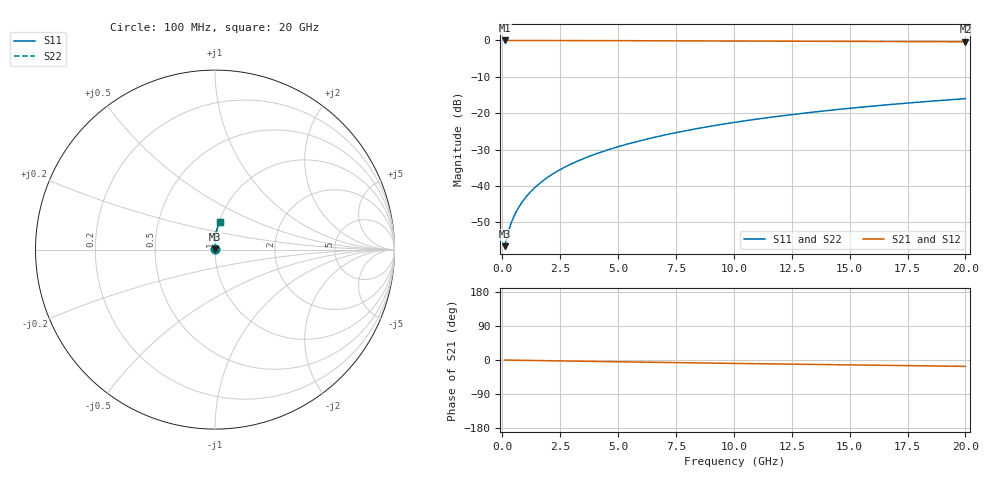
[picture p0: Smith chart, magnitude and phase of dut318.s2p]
! Touchstone file exported from HFSS 2024.1.0
!  File:  C:/UserFiles/LocalFiles/RDL_TSV_Batchsim/temp_RDL_top_318_1779606856.aedt
!  Generated:  03:16:22 PM May 24, 2026
!  Design:  RDL_top
!  Project:  temp_RDL_top_318_1779606856
!  Setup:  Setup1
!  Solution:  Sweep
! Variables:
!  dtsv = 10.80580581um
!  hbump = 3um
!  htsv = 91.66um
!  ldown = 100um
!  lrdl = 235.75um
!  p = 40
!  p1 = 41.72um
!  rhole = 1um
!  t = 450um
!  tdown = 3.915915916um
!  trdl = 3.5um
!  wdown = 15.38538539um
!  wrdl = 22.75um
# GHz S MA R 50.000000
! Terminal data exported
! Port[1] = Box2_T1
! Port[2] = Box2_T2
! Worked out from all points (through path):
!   200 points, 100 MHz to 20 GHz, reference 50 ohm
!   highest |S21| = -0.01 dB at 100 MHz (marker M1); lowest = -0.4 dB at 20 GHz (marker M2)
!   group delay of S21, straight-line fit = 2.31 ps
!   lowest |S11| = -56.6 dB at 100 MHz (marker M3), VSWR 1.00, Z = 50.1 + j0.0765 ohm
!   |S11| at or under -10 dB: start of sweep to end of sweep
!   |S22| runs from -56.6 to -16.0 dB; largest |S21 - S12| = 3.5e-15
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0.1  0.001487 30.9  0.9987 -0.1  0.9987 -0.1  0.001487 30.9
! Gamma 0 0 0 0
! Port Impedance 50 0 50 0
0.2  0.002004 48.0  0.9986 -0.2  0.9986 -0.2  0.002004 48.0
0.3  0.002591 57.1  0.9986 -0.3  0.9986 -0.3  0.002591 57.1
0.4  0.003191 62.7  0.9985 -0.4  0.9985 -0.4  0.003191 62.7
0.5  0.003794 66.7  0.9984 -0.5  0.9984 -0.5  0.003794 66.7
0.6  0.004403 69.8  0.9983 -0.6  0.9983 -0.6  0.004403 69.8
0.8  0.005638 74.2  0.9982 -0.8  0.9982 -0.8  0.005638 74.2
1  0.006896 77.1  0.9981 -1.0  0.9981 -1.0  0.006896 77.1
1.2  0.008172 79.3  0.9979 -1.2  0.9979 -1.2  0.008172 79.3
1.4  0.009464 81.0  0.9978 -1.4  0.9978 -1.4  0.009464 81.0
1.7  0.01143 82.9  0.9975 -1.7  0.9975 -1.7  0.01143 82.9
2.2  0.01475 85.0  0.9969 -2.1  0.9969 -2.1  0.01475 85.0
2.8  0.01883 86.6  0.9961 -2.7  0.9961 -2.7  0.01883 86.6
3.5  0.0237 87.9  0.995 -3.4  0.995 -3.4  0.0237 87.9
4.2  0.02871 88.7  0.9936 -4.0  0.9936 -4.0  0.02871 88.7
5  0.0346 89.3  0.992 -4.7  0.992 -4.7  0.0346 89.3
6.8  0.04843 89.6  0.9878 -6.3  0.9878 -6.3  0.04843 89.6
8.4  0.0613 89.2  0.9839 -7.7  0.9839 -7.7  0.06129 89.2
10.1  0.07536 88.3  0.9798 -9.1  0.9798 -9.1  0.07535 88.2
13.4  0.1032 85.7  0.9721 -11.7  0.9721 -11.7  0.1032 85.7
16.7  0.131 82.8  0.9649 -14.3  0.9649 -14.3  0.131 82.7
20  0.1584 79.7  0.9578 -16.8  0.9578 -16.8  0.1584 79.7
